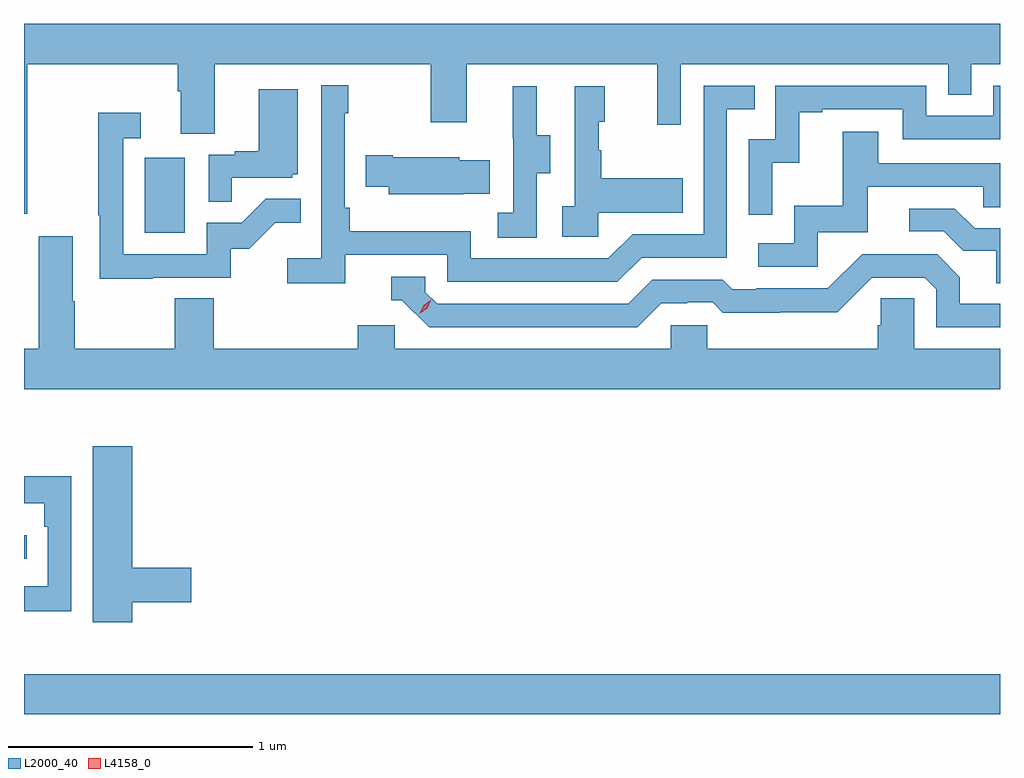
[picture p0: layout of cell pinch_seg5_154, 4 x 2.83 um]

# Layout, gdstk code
import gdstk
lib = gdstk.Library(unit=1e-6, precision=1e-09)
def R(c, l, rs):  # rectangles x0, y0, x1, y1
    for r in rs: c.add(gdstk.rectangle(r[:2], r[2:], *l))
def P(c, l, *ps):  # polygons
    for p in ps: c.add(gdstk.Polygon(p, *l))
L2000_40 = (2000, 40)
L4158_0 = (4158, 0)

pinch_seg5_154 = lib.new_cell('pinch_seg5_154')
R(pinch_seg5_154, L2000_40, [(1104.329,888.728,1108.329,888.892), (1104.329,889.365,1104.34,889.461), (1104.824,890.7,1104.988,891.007)])
P(pinch_seg5_154, L2000_40, [(1104.343,891.392),(1104.959,891.392),(1104.959,891.28),(1104.971,891.28),(1104.971,891.106),(1105.111,891.106),(1105.111,891.392),(1105.996,891.392),(1105.996,891.153),(1106.143,891.153),(1106.143,891.392),(1106.924,891.392),(1106.924,891.144),(1107.021,891.144),(1107.021,891.392),(1108.116,891.392),(1108.116,891.265),(1108.212,891.265),(1108.212,891.392),(1108.329,891.392),(1108.329,891.556),(1104.329,891.556),(1104.329,890.778),(1104.343,890.778)],
  [(1105.646,890.61),(1106.064,890.61),(1106.064,890.499),(1106.761,890.499),(1106.86,890.598),(1107.21,890.598),(1107.21,891.207),(1107.323,891.207),(1107.323,891.303),(1107.114,891.303),(1107.114,890.694),(1106.823,890.694),(1106.724,890.595),(1106.16,890.595),(1106.16,890.707),(1105.664,890.707),(1105.664,890.803),(1105.644,890.803),(1105.644,891.191),(1105.657,891.191),(1105.657,891.304),(1105.548,891.304),(1105.548,890.596),(1105.407,890.596),(1105.407,890.494),(1105.646,890.494)],
  [(1107.396,890.987),(1107.506,890.987),(1107.506,891.195),(1107.601,891.195),(1107.601,891.207),(1107.93,891.207),(1107.93,891.084),(1108.329,891.084),(1108.329,891.303),(1108.302,891.303),(1108.302,891.18),(1108.026,891.18),(1108.026,891.303),(1107.408,891.303),(1107.408,891.084),(1107.3,891.084),(1107.3,890.775),(1107.396,890.775)],
  [(1106.682,890.783),(1107.029,890.783),(1107.029,890.923),(1106.695,890.923),(1106.695,891.038),(1106.685,891.038),(1106.685,891.156),(1106.71,891.156),(1106.71,891.301),(1106.586,891.301),(1106.586,890.81),(1106.535,890.81),(1106.535,890.685),(1106.682,890.685)],
  [(1106.43,890.944),(1106.485,890.944),(1106.485,891.099),(1106.431,891.099),(1106.431,891.301),(1106.333,891.301),(1106.333,891.087),(1106.334,891.087),(1106.334,890.783),(1106.271,890.783),(1106.271,890.68),(1106.43,890.68)],
  [(1105.181,890.925),(1105.428,890.925),(1105.428,890.94),(1105.45,890.94),(1105.45,891.289),(1105.292,891.289),(1105.292,891.034),(1105.193,891.034),(1105.193,891.021),(1105.086,891.021),(1105.086,890.827),(1105.181,890.827)],
  [(1104.857,890.517),(1105.176,890.517),(1105.176,890.634),(1105.252,890.634),(1105.359,890.741),(1105.463,890.741),(1105.463,890.84),(1105.319,890.84),(1105.221,890.742),(1105.077,890.742),(1105.077,890.613),(1104.735,890.613),(1104.735,891.087),(1104.808,891.087),(1104.808,891.193),(1104.634,891.193),(1104.634,890.773),(1104.639,890.773),(1104.639,890.512),(1104.857,890.512)],
  [(1107.582,890.703),(1107.787,890.703),(1107.787,890.889),(1108.261,890.889),(1108.261,890.805),(1108.329,890.805),(1108.329,890.985),(1107.829,890.985),(1107.829,891.115),(1107.685,891.115),(1107.685,890.812),(1107.486,890.812),(1107.486,890.658),(1107.339,890.658),(1107.339,890.562),(1107.582,890.562)],
  [(1106.129,890.861),(1106.237,890.861),(1106.237,890.998),(1106.112,890.998),(1106.112,891.01),(1105.84,891.01),(1105.84,891.018),(1105.729,891.018),(1105.729,890.888),(1105.823,890.888),(1105.823,890.858),(1106.129,890.858)],
  [(1108.329,890.718),(1108.225,890.718),(1108.144,890.799),(1107.957,890.799),(1107.957,890.706),(1108.098,890.706),(1108.178,890.626),(1108.313,890.626),(1108.313,890.494),(1108.329,890.494)],
  [(1108.329,890.224),(1107.978,890.224),(1107.978,890.432),(1107.841,890.432),(1107.841,890.322),(1107.827,890.322),(1107.827,890.224),(1107.129,890.224),(1107.129,890.322),(1106.979,890.322),(1106.979,890.224),(1105.848,890.224),(1105.848,890.322),(1105.697,890.322),(1105.697,890.224),(1105.106,890.224),(1105.106,890.432),(1104.946,890.432),(1104.946,890.224),(1104.537,890.224),(1104.537,890.42),(1104.529,890.42),(1104.529,890.686),(1104.389,890.686),(1104.389,890.224),(1104.329,890.224),(1104.329,890.06),(1108.329,890.06)],
  [(1106.941,890.412),(1107.048,890.412),(1107.048,890.415),(1107.151,890.415),(1107.193,890.373),(1107.426,890.373),(1107.426,890.375),(1107.662,890.375),(1107.804,890.517),(1108.02,890.517),(1108.068,890.469),(1108.068,890.313),(1108.329,890.313),(1108.329,890.409),(1108.165,890.409),(1108.165,890.519),(1108.071,890.613),(1107.765,890.613),(1107.624,890.472),(1107.331,890.472),(1107.331,890.469),(1107.232,890.469),(1107.193,890.508),(1106.904,890.508),(1106.805,890.409),(1106.022,890.409),(1105.974,890.457),(1105.974,890.52),(1105.835,890.52),(1105.835,890.424),(1105.878,890.424),(1105.989,890.313),(1106.842,890.313)],
  [(1104.772,889.186),(1105.015,889.186),(1105.015,889.328),(1104.772,889.328),(1104.772,889.825),(1104.611,889.825),(1104.611,889.104),(1104.772,889.104)],
  [(1104.522,889.702),(1104.329,889.702),(1104.329,889.592),(1104.413,889.592),(1104.413,889.496),(1104.426,889.496),(1104.426,889.251),(1104.329,889.251),(1104.329,889.15),(1104.522,889.15)])
P(pinch_seg5_154, L4158_0, [(1105.951,890.37),(1105.951,890.371),(1105.967,890.404),(1105.997,890.424),(1105.997,890.424),(1105.997,890.423),(1105.982,890.39),(1105.952,890.37)])

lib.write_gds('pinch_seg5_154.gds')
